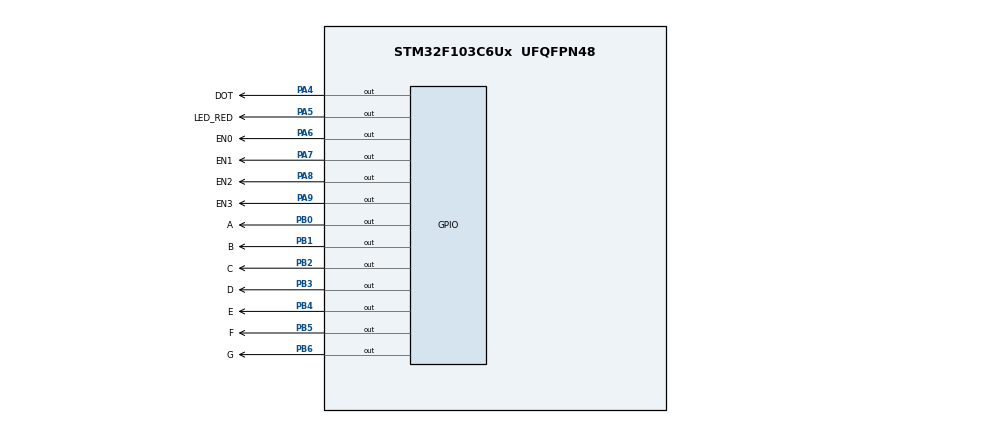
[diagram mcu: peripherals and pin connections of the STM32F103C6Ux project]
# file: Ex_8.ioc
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Mcu.Family=STM32F1
Mcu.Name=STM32F103C6Ux
Mcu.Package=UFQFPN48
NVIC.PriorityGroup=NVIC_PRIORITYGROUP_4
NVIC.TIM2_IRQn=true\:0\:0\:false\:false\:true\:true\:true
PA4.GPIO_Label=DOT
PA4.Signal=GPIO_Output
PA5.GPIO_Label=LED_RED
PA5.Signal=GPIO_Output
PA6.GPIO_Label=EN0
PA6.Signal=GPIO_Output
PA7.GPIO_Label=EN1
PA7.Signal=GPIO_Output
PA8.GPIO_Label=EN2
PA8.Signal=GPIO_Output
PA9.GPIO_Label=EN3
PA9.Signal=GPIO_Output
PB0.GPIO_Label=A
PB0.Signal=GPIO_Output
PB1.GPIO_Label=B
PB1.Signal=GPIO_Output
PB2.GPIO_Label=C
PB2.Signal=GPIO_Output
PB3.GPIO_Label=D
PB3.Signal=GPIO_Output
PB4.GPIO_Label=E
PB4.Signal=GPIO_Output
PB5.GPIO_Label=F
PB5.Signal=GPIO_Output
PB6.GPIO_Label=G
PB6.Signal=GPIO_Output
ProjectManager.HeapSize=0x200
ProjectManager.StackSize=0x400
ProjectManager.TargetToolchain=STM32CubeIDE
RCC.APB1Freq_Value=8000000
RCC.APB2Freq_Value=8000000
TIM2.Period=9
TIM2.Prescaler=7999
VP_SYS_VS_ND.Mode=No_Debug
VP_TIM2_VS_ClockSourceINT.Mode=Internal
board=custom

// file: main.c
/* USER CODE BEGIN Header */
/**
  ******************************************************************************
  * @file           : main.c
  * @brief          : Main program body
  ******************************************************************************
  * @attention
  *
  * <h2><center>&copy; Copyright (c) 2024 STMicroelectronics.
  * All rights reserved.</center></h2>
  *
  * This software component is licensed by ST under BSD 3-Clause license,
  * the "License"; You may not use this file except in compliance with the
  * License. You may obtain a copy of the License at:
  *                        opensource.org/licenses/BSD-3-Clause
  *
  ******************************************************************************
  */
/* USER CODE END Header */
#include "main.h"

TIM_HandleTypeDef htim2;

/* USER CODE BEGIN PV */
int hour = 15, minute = 8, second = 50;
int idx = 0;
int TIMER_CYCLE = 10;

int timer0_counter = 0,timer0_flag = 0;
int timer1_flag = 0,timer1_counter = 0;
int timer2_flag = 0, timer2_counter = 0;

void setTimer0(int duration){
	timer0_counter = duration /TIMER_CYCLE;
	timer0_flag = 0;
}
void timer_run(){
	if(timer0_counter > 0){
		timer0_counter --;
		if(timer0_counter == 0) {
			timer0_flag = 1;
			timer1_counter++;
			timer2_counter++;
		}
	}
}
void display7SEG(int num) {
	HAL_GPIO_WritePin(A_GPIO_Port, A_Pin, SET);
	HAL_GPIO_WritePin(B_GPIO_Port, B_Pin, SET);
	HAL_GPIO_WritePin(C_GPIO_Port, C_Pin, SET);
	HAL_GPIO_WritePin(D_GPIO_Port, D_Pin, SET);
	HAL_GPIO_WritePin(E_GPIO_Port, E_Pin, SET);
	HAL_GPIO_WritePin(F_GPIO_Port, F_Pin, SET);
	HAL_GPIO_WritePin(G_GPIO_Port, G_Pin, SET);

	switch (num) {
	    case 0:
	        HAL_GPIO_WritePin(A_GPIO_Port, A_Pin, RESET);
	        HAL_GPIO_WritePin(B_GPIO_Port, B_Pin, RESET);
	        HAL_GPIO_WritePin(C_GPIO_Port, C_Pin, RESET);
	        HAL_GPIO_WritePin(D_GPIO_Port, D_Pin, RESET);
	        HAL_GPIO_WritePin(E_GPIO_Port, E_Pin, RESET);
	        HAL_GPIO_WritePin(F_GPIO_Port, F_Pin, RESET);
	        break;
	    case 1:
	        HAL_GPIO_WritePin(B_GPIO_Port, B_Pin, RESET);
	        HAL_GPIO_WritePin(C_GPIO_Port, C_Pin, RESET);
	        break;
	    case 2:
	        HAL_GPIO_WritePin(A_GPIO_Port, A_Pin, RESET);
	        HAL_GPIO_WritePin(B_GPIO_Port, B_Pin, RESET);
	        HAL_GPIO_WritePin(D_GPIO_Port, D_Pin, RESET);
	        HAL_GPIO_WritePin(E_GPIO_Port, E_Pin, RESET);
	        HAL_GPIO_WritePin(G_GPIO_Port, G_Pin, RESET);
	        break;
	    case 3:
	        HAL_GPIO_WritePin(A_GPIO_Port, A_Pin, RESET);
	        HAL_GPIO_WritePin(B_GPIO_Port, B_Pin, RESET);
	        HAL_GPIO_WritePin(C_GPIO_Port, C_Pin, RESET);
	        HAL_GPIO_WritePin(D_GPIO_Port, D_Pin, RESET);
	        HAL_GPIO_WritePin(G_GPIO_Port, G_Pin, RESET);
	        break;
	    case 4:
	        HAL_GPIO_WritePin(B_GPIO_Port, B_Pin, RESET);
	        HAL_GPIO_WritePin(C_GPIO_Port, C_Pin, RESET);
	        HAL_GPIO_WritePin(F_GPIO_Port, F_Pin, RESET);
	        HAL_GPIO_WritePin(G_GPIO_Port, G_Pin, RESET);
	        break;
	    case 5:
	        HAL_GPIO_WritePin(A_GPIO_Port, A_Pin, RESET);
	        HAL_GPIO_WritePin(C_GPIO_Port, C_Pin, RESET);
	        HAL_GPIO_WritePin(D_GPIO_Port, D_Pin, RESET);
	        HAL_GPIO_WritePin(F_GPIO_Port, F_Pin, RESET);
	        HAL_GPIO_WritePin(G_GPIO_Port, G_Pin, RESET);
	        break;
	    case 6:
	        HAL_GPIO_WritePin(A_GPIO_Port, A_Pin, RESET);
	        HAL_GPIO_WritePin(C_GPIO_Port, C_Pin, RESET);
	        HAL_GPIO_WritePin(D_GPIO_Port, D_Pin, RESET);
	        HAL_GPIO_WritePin(E_GPIO_Port, E_Pin, RESET);
	        HAL_GPIO_WritePin(F_GPIO_Port, F_Pin, RESET);
	        HAL_GPIO_WritePin(G_GPIO_Port, G_Pin, RESET);
	        break;
	    case 7:
	        HAL_GPIO_WritePin(A_GPIO_Port, A_Pin, RESET);
	        HAL_GPIO_WritePin(B_GPIO_Port, B_Pin, RESET);
	        HAL_GPIO_WritePin(C_GPIO_Port, C_Pin, RESET);
	        break;
	    case 8:
	        HAL_GPIO_WritePin(A_GPIO_Port, A_Pin, RESET);
	        HAL_GPIO_WritePin(B_GPIO_Port, B_Pin, RESET);
	        HAL_GPIO_WritePin(C_GPIO_Port, C_Pin, RESET);
	        HAL_GPIO_WritePin(D_GPIO_Port, D_Pin, RESET);
	        HAL_GPIO_WritePin(E_GPIO_Port, E_Pin, RESET);
	        HAL_GPIO_WritePin(F_GPIO_Port, F_Pin, RESET);
	        HAL_GPIO_WritePin(G_GPIO_Port, G_Pin, RESET);
	        break;
	    case 9:
	        HAL_GPIO_WritePin(A_GPIO_Port, A_Pin, RESET);
	        HAL_GPIO_WritePin(B_GPIO_Port, B_Pin, RESET);
	        HAL_GPIO_WritePin(C_GPIO_Port, C_Pin, RESET);
	        HAL_GPIO_WritePin(D_GPIO_Port, D_Pin, RESET);
	        HAL_GPIO_WritePin(F_GPIO_Port, F_Pin, RESET);
	        HAL_GPIO_WritePin(G_GPIO_Port, G_Pin, RESET);
	        break;
	    default:
	        break;
	}
}
void updateClockBuffer(){
	int fst_hour_digit = hour /10;
	int snd_hour_digit = hour % 10;
	int fst_min_digit = minute /10;
	int snd_min_digit = minute % 10;

	HAL_GPIO_WritePin(GPIOA, EN0_Pin,  GPIO_PIN_SET);
	HAL_GPIO_WritePin(GPIOA, EN1_Pin,  GPIO_PIN_SET);
	HAL_GPIO_WritePin(GPIOA, EN2_Pin,  GPIO_PIN_SET);
	HAL_GPIO_WritePin(GPIOA, EN3_Pin,  GPIO_PIN_SET);
	switch(idx){
	case 0:
		HAL_GPIO_WritePin(GPIOA, EN0_Pin,  GPIO_PIN_RESET);
		display7SEG(fst_hour_digit);
		break;
	case 1:
		HAL_GPIO_WritePin(GPIOA, EN1_Pin,  GPIO_PIN_RESET);
		display7SEG(snd_hour_digit);
		break;

	case 2:
		HAL_GPIO_WritePin(GPIOA, EN2_Pin,  GPIO_PIN_RESET);
		display7SEG(fst_min_digit);
		break;

	case 3:
		HAL_GPIO_WritePin(GPIOA, EN3_Pin,  GPIO_PIN_RESET);
		display7SEG(snd_min_digit);
		break;
	}
	idx = (idx + 1) % 4;
}
/* USER CODE END PV */

void SystemClock_Config(void);
static void MX_GPIO_Init(void);
static void MX_TIM2_Init(void);

int main(void)
{

  /* MCU Configuration--------------------------------------------------------*/

  /* Reset of all peripherals, Initializes the Flash interface and the Systick. */
  HAL_Init();

  /* Configure the system clock */
  SystemClock_Config();

  /* Initialize all configured peripherals */
  MX_GPIO_Init();
  MX_TIM2_Init();
  /* USER CODE BEGIN 2 */
  HAL_TIM_Base_Start_IT(&htim2);
  /* USER CODE END 2 */

  /* Infinite loop */
  /* USER CODE BEGIN WHILE */
  setTimer0(1000);
  while (1){
	  if(timer0_flag == 1){
		  updateClockBuffer();
		  setTimer0(250);
	  }
	  if(timer1_flag == 1){
		  second ++;
		  if (second >= 60){
			  second = 0;
			  minute ++;
		  }
		  if(minute >= 60){
			  minute = 0;
			  hour ++;
		  }
		  if(hour >=24){
			  hour = 0;
		  }
		  timer1_flag = 0;
	  }
	  if(timer2_flag == 1){
		  HAL_GPIO_TogglePin(DOT_GPIO_Port ,DOT_Pin);
		  timer2_flag = 0;
	  }
  }
  /* USER CODE END 3 */
}

void SystemClock_Config(void)
{
  RCC_OscInitTypeDef RCC_OscInitStruct = {0};
  RCC_ClkInitTypeDef RCC_ClkInitStruct = {0};

  /** Initializes the RCC Oscillators according to the specified parameters
  * in the RCC_OscInitTypeDef structure.
  */
  RCC_OscInitStruct.OscillatorType = RCC_OSCILLATORTYPE_HSI;
  RCC_OscInitStruct.HSIState = RCC_HSI_ON;
  RCC_OscInitStruct.HSICalibrationValue = RCC_HSICALIBRATION_DEFAULT;
  RCC_OscInitStruct.PLL.PLLState = RCC_PLL_NONE;
  if (HAL_RCC_OscConfig(&RCC_OscInitStruct) != HAL_OK)
  {
    Error_Handler();
  }
  /** Initializes the CPU, AHB and APB buses clocks
  */
  RCC_ClkInitStruct.ClockType = RCC_CLOCKTYPE_HCLK|RCC_CLOCKTYPE_SYSCLK
                              |RCC_CLOCKTYPE_PCLK1|RCC_CLOCKTYPE_PCLK2;
  RCC_ClkInitStruct.SYSCLKSource = RCC_SYSCLKSOURCE_HSI;
  RCC_ClkInitStruct.AHBCLKDivider = RCC_SYSCLK_DIV1;
  RCC_ClkInitStruct.APB1CLKDivider = RCC_HCLK_DIV1;
  RCC_ClkInitStruct.APB2CLKDivider = RCC_HCLK_DIV1;

  if (HAL_RCC_ClockConfig(&RCC_ClkInitStruct, FLASH_LATENCY_0) != HAL_OK)
  {
    Error_Handler();
  }
}

static void MX_TIM2_Init(void)
{

  TIM_ClockConfigTypeDef sClockSourceConfig = {0};
  TIM_MasterConfigTypeDef sMasterConfig = {0};

  htim2.Instance = TIM2;
  htim2.Init.Prescaler = 7999;
  htim2.Init.CounterMode = TIM_COUNTERMODE_UP;
  htim2.Init.Period = 9;
  htim2.Init.ClockDivision = TIM_CLOCKDIVISION_DIV1;
  htim2.Init.AutoReloadPreload = TIM_AUTORELOAD_PRELOAD_DISABLE;
  if (HAL_TIM_Base_Init(&htim2) != HAL_OK)
  {
    Error_Handler();
  }
  sClockSourceConfig.ClockSource = TIM_CLOCKSOURCE_INTERNAL;
  if (HAL_TIM_ConfigClockSource(&htim2, &sClockSourceConfig) != HAL_OK)
  {
    Error_Handler();
  }
  sMasterConfig.MasterOutputTrigger = TIM_TRGO_RESET;
  sMasterConfig.MasterSlaveMode = TIM_MASTERSLAVEMODE_DISABLE;
  if (HAL_TIMEx_MasterConfigSynchronization(&htim2, &sMasterConfig) != HAL_OK)
  {
    Error_Handler();
  }

}

static void MX_GPIO_Init(void)
{
  GPIO_InitTypeDef GPIO_InitStruct = {0};

  /* GPIO Ports Clock Enable */
  __HAL_RCC_GPIOA_CLK_ENABLE();
  __HAL_RCC_GPIOB_CLK_ENABLE();

  /*Configure GPIO pin Output Level */
  HAL_GPIO_WritePin(GPIOA, DOT_Pin|LED_RED_Pin|EN0_Pin|EN1_Pin
                          |EN2_Pin|EN3_Pin, GPIO_PIN_RESET);

  /*Configure GPIO pin Output Level */
  HAL_GPIO_WritePin(GPIOB, A_Pin|B_Pin|C_Pin|D_Pin
                          |E_Pin|F_Pin|G_Pin, GPIO_PIN_RESET);

  /*Configure GPIO pins : DOT_Pin LED_RED_Pin EN0_Pin EN1_Pin
                           EN2_Pin EN3_Pin */
  GPIO_InitStruct.Pin = DOT_Pin|LED_RED_Pin|EN0_Pin|EN1_Pin
                          |EN2_Pin|EN3_Pin;
  GPIO_InitStruct.Mode = GPIO_MODE_OUTPUT_PP;
  GPIO_InitStruct.Pull = GPIO_NOPULL;
  GPIO_InitStruct.Speed = GPIO_SPEED_FREQ_LOW;
  HAL_GPIO_Init(GPIOA, &GPIO_InitStruct);

  /*Configure GPIO pins : A_Pin B_Pin C_Pin D_Pin
                           E_Pin F_Pin G_Pin */
  GPIO_InitStruct.Pin = A_Pin|B_Pin|C_Pin|D_Pin
                          |E_Pin|F_Pin|G_Pin;
  GPIO_InitStruct.Mode = GPIO_MODE_OUTPUT_PP;
  GPIO_InitStruct.Pull = GPIO_NOPULL;
  GPIO_InitStruct.Speed = GPIO_SPEED_FREQ_LOW;
  HAL_GPIO_Init(GPIOB, &GPIO_InitStruct);

}

/* USER CODE BEGIN 4 */
void HAL_TIM_PeriodElapsedCallback(TIM_HandleTypeDef *htim) {
	timer_run();

	if(timer1_counter >=4){
		timer1_counter = 0;
		timer1_flag = 1;
	}
	if(timer2_counter >=2){
		timer2_counter = 0;
		timer2_flag = 1;
	}
}
/* USER CODE END 4 */

void Error_Handler(void)
{
  __disable_irq();
  while (1)
  {
  }
}

/************************ (C) COPYRIGHT STMicroelectronics *****END OF FILE****/
